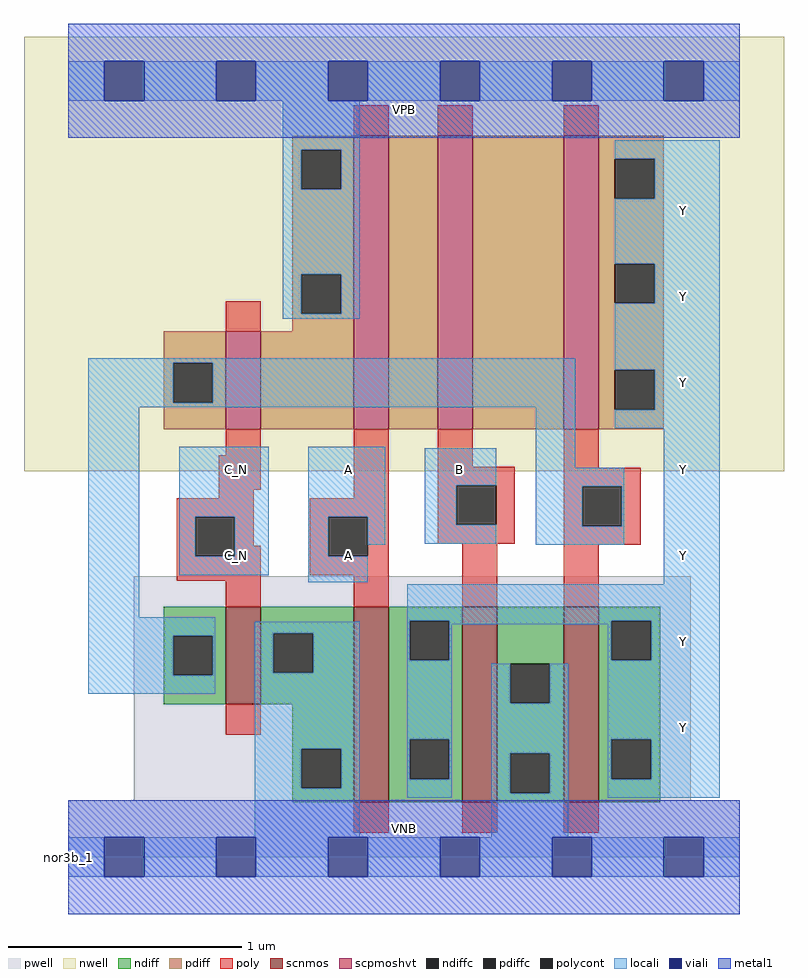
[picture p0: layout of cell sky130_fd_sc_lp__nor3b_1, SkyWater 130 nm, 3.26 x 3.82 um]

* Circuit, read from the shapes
.subckt sky130_fd_sc_lp__nor3b_1 A B C_N VGND VNB VPB VPWR Y
XM1 VGND C_N n1 VNB sky130_fd_pr__nfet_01v8 w=0.42 l=0.15
XM2 Y A VGND VNB sky130_fd_pr__nfet_01v8 w=0.84 l=0.15
XM3 VGND B Y VNB sky130_fd_pr__nfet_01v8 w=0.84 l=0.15
XM4 Y n1 VGND VNB sky130_fd_pr__nfet_01v8 w=0.84 l=0.15
XM5 VPWR C_N n1 VPB sky130_fd_pr__pfet_01v8_hvt w=0.42 l=0.15
XM6 n2 A VPWR VPB sky130_fd_pr__pfet_01v8_hvt w=1.26 l=0.15
XM7 n3 B n2 VPB sky130_fd_pr__pfet_01v8_hvt w=1.26 l=0.15
XM8 Y n1 n3 VPB sky130_fd_pr__pfet_01v8_hvt w=1.26 l=0.15
.ends

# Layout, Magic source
magic
tech sky130A
magscale 1 2
<< nwell >>
rect -38 331 614 704
<< pwell >>
rect 56 49 534 241
rect 0 0 576 49
<< scnmos >>
rect 135 131 165 215
rect 245 47 275 215
rect 338 47 368 215
rect 425 47 455 215
<< scpmoshvt >>
rect 135 367 165 451
rect 245 367 275 619
rect 317 367 347 619
rect 425 367 455 619
<< ndiff >>
rect 82 190 135 215
rect 82 156 90 190
rect 124 156 135 190
rect 82 131 135 156
rect 165 192 245 215
rect 165 158 176 192
rect 210 158 245 192
rect 165 131 245 158
rect 192 93 245 131
rect 192 59 200 93
rect 234 59 245 93
rect 192 47 245 59
rect 275 203 338 215
rect 275 169 293 203
rect 327 169 338 203
rect 275 101 338 169
rect 275 67 293 101
rect 327 67 338 101
rect 275 47 338 67
rect 368 166 425 215
rect 368 132 379 166
rect 413 132 425 166
rect 368 89 425 132
rect 368 55 379 89
rect 413 55 425 89
rect 368 47 425 55
rect 455 203 508 215
rect 455 169 466 203
rect 500 169 508 203
rect 455 101 508 169
rect 455 67 466 101
rect 500 67 508 101
rect 455 47 508 67
<< pdiff >>
rect 192 607 245 619
rect 192 573 200 607
rect 234 573 245 607
rect 192 500 245 573
rect 192 466 200 500
rect 234 466 245 500
rect 192 451 245 466
rect 82 424 135 451
rect 82 390 90 424
rect 124 390 135 424
rect 82 367 135 390
rect 165 367 245 451
rect 275 367 317 619
rect 347 367 425 619
rect 455 599 511 619
rect 455 565 469 599
rect 503 565 511 599
rect 455 509 511 565
rect 455 475 469 509
rect 503 475 511 509
rect 455 418 511 475
rect 455 384 469 418
rect 503 384 511 418
rect 455 367 511 384
<< ndiffc >>
rect 90 156 124 190
rect 176 158 210 192
rect 200 59 234 93
rect 293 169 327 203
rect 293 67 327 101
rect 379 132 413 166
rect 379 55 413 89
rect 466 169 500 203
rect 466 67 500 101
<< pdiffc >>
rect 200 573 234 607
rect 200 466 234 500
rect 90 390 124 424
rect 469 565 503 599
rect 469 475 503 509
rect 469 384 503 418
<< poly >>
rect 245 619 275 645
rect 317 619 347 645
rect 425 619 455 645
rect 135 451 165 477
rect 135 345 165 367
rect 129 315 165 345
rect 129 308 159 315
rect 245 308 275 367
rect 93 292 159 308
rect 93 258 109 292
rect 143 267 159 292
rect 207 292 275 308
rect 143 258 165 267
rect 93 237 165 258
rect 207 258 223 292
rect 257 258 275 292
rect 317 335 347 367
rect 317 319 383 335
rect 317 285 333 319
rect 367 285 383 319
rect 317 269 383 285
rect 425 334 455 367
rect 425 318 491 334
rect 425 284 441 318
rect 475 284 491 318
rect 207 242 275 258
rect 135 215 165 237
rect 245 215 275 242
rect 338 215 368 269
rect 425 268 491 284
rect 425 215 455 268
rect 135 105 165 131
rect 245 21 275 47
rect 338 21 368 47
rect 425 21 455 47
<< polycont >>
rect 109 258 143 292
rect 223 258 257 292
rect 333 285 367 319
rect 441 284 475 318
<< locali >>
rect 0 649 31 683
rect 65 649 127 683
rect 161 649 223 683
rect 257 649 319 683
rect 353 649 415 683
rect 449 649 511 683
rect 545 649 576 683
rect 184 607 250 649
rect 184 573 200 607
rect 234 573 250 607
rect 184 500 250 573
rect 184 466 200 500
rect 234 466 250 500
rect 184 462 250 466
rect 469 599 559 615
rect 503 565 559 599
rect 469 509 559 565
rect 503 475 559 509
rect 17 424 435 428
rect 17 390 90 424
rect 124 390 435 424
rect 17 386 435 390
rect 17 206 61 386
rect 95 292 172 352
rect 95 258 109 292
rect 143 258 172 292
rect 95 242 172 258
rect 206 292 272 352
rect 206 258 223 292
rect 257 268 272 292
rect 306 319 367 351
rect 306 285 333 319
rect 306 269 367 285
rect 401 334 435 386
rect 469 418 559 475
rect 503 384 559 418
rect 469 368 559 384
rect 401 318 477 334
rect 401 284 441 318
rect 475 284 477 318
rect 401 268 477 284
rect 206 236 257 258
rect 511 234 559 368
rect 17 190 126 206
rect 291 203 559 234
rect 17 156 90 190
rect 124 156 126 190
rect 17 140 126 156
rect 160 192 250 202
rect 160 158 176 192
rect 210 158 250 192
rect 160 93 250 158
rect 160 59 200 93
rect 234 59 250 93
rect 160 17 250 59
rect 291 169 293 203
rect 327 200 466 203
rect 327 169 329 200
rect 291 101 329 169
rect 463 169 466 200
rect 500 169 559 203
rect 291 67 293 101
rect 327 67 329 101
rect 291 51 329 67
rect 363 132 379 166
rect 413 132 429 166
rect 363 89 429 132
rect 363 55 379 89
rect 413 55 429 89
rect 363 17 429 55
rect 463 101 559 169
rect 463 67 466 101
rect 500 67 559 101
rect 463 51 559 67
rect 0 -17 31 17
rect 65 -17 127 17
rect 161 -17 223 17
rect 257 -17 319 17
rect 353 -17 415 17
rect 449 -17 511 17
rect 545 -17 576 17
<< viali >>
rect 31 649 65 683
rect 127 649 161 683
rect 223 649 257 683
rect 319 649 353 683
rect 415 649 449 683
rect 511 649 545 683
rect 31 -17 65 17
rect 127 -17 161 17
rect 223 -17 257 17
rect 319 -17 353 17
rect 415 -17 449 17
rect 511 -17 545 17
<< metal1 >>
rect 0 683 576 715
rect 0 649 31 683
rect 65 649 127 683
rect 161 649 223 683
rect 257 649 319 683
rect 353 649 415 683
rect 449 649 511 683
rect 545 649 576 683
rect 0 617 576 649
rect 0 17 576 49
rect 0 -17 31 17
rect 65 -17 127 17
rect 161 -17 223 17
rect 257 -17 319 17
rect 353 -17 415 17
rect 449 -17 511 17
rect 545 -17 576 17
rect 0 -49 576 -17
<< labels >>
flabel pwell s 0 0 576 49 0 FreeSans 200 0 0 0 VNB
port 5 nsew ground bidirectional
flabel nwell s 0 617 576 666 0 FreeSans 200 0 0 0 VPB
port 6 nsew power bidirectional
rlabel comment s 0 0 0 0 4 nor3b_1
flabel metal1 s 0 617 576 666 0 FreeSans 340 0 0 0 VPWR
port 7 nsew power bidirectional
flabel metal1 s 0 0 576 49 0 FreeSans 340 0 0 0 VGND
port 4 nsew ground bidirectional
flabel locali s 223 242 257 276 0 FreeSans 340 0 0 0 A
port 1 nsew signal input
flabel locali s 223 316 257 350 0 FreeSans 340 0 0 0 A
port 1 nsew signal input
flabel locali s 319 316 353 350 0 FreeSans 340 0 0 0 B
port 2 nsew signal input
flabel locali s 127 242 161 276 0 FreeSans 340 0 0 0 C_N
port 3 nsew signal input
flabel locali s 127 316 161 350 0 FreeSans 340 0 0 0 C_N
port 3 nsew signal input
flabel locali s 511 94 545 128 0 FreeSans 340 0 0 0 Y
port 8 nsew signal output
flabel locali s 511 168 545 202 0 FreeSans 340 0 0 0 Y
port 8 nsew signal output
flabel locali s 511 242 545 276 0 FreeSans 340 0 0 0 Y
port 8 nsew signal output
flabel locali s 511 316 545 350 0 FreeSans 340 0 0 0 Y
port 8 nsew signal output
flabel locali s 511 390 545 424 0 FreeSans 340 0 0 0 Y
port 8 nsew signal output
flabel locali s 511 464 545 498 0 FreeSans 340 0 0 0 Y
port 8 nsew signal output
flabel locali s 511 538 545 572 0 FreeSans 340 0 0 0 Y
port 8 nsew signal output
<< properties >>
string LEFsite unit
string LEFclass CORE
string FIXED_BBOX 0 0 576 666
string GDS_FILE $PDKPATH/libs.ref/sky130_fd_sc_lp/gds/sky130_fd_sc_lp.gds
string LEFsymmetry X Y R90
string GDS_END 1224170
string GDS_START 1218096
<< end >>
